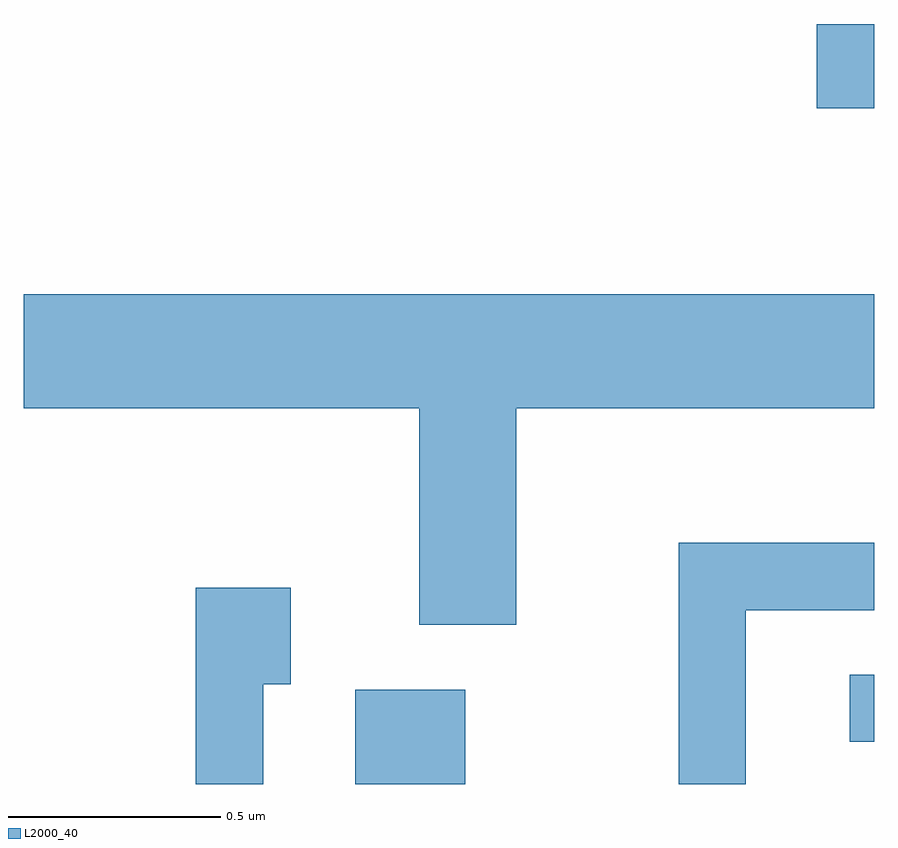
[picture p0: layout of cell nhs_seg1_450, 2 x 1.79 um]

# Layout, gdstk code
import gdstk
lib = gdstk.Library(unit=1e-6, precision=1e-09)
def R(c, l, rs):  # rectangles x0, y0, x1, y1
    for r in rs: c.add(gdstk.rectangle(r[:2], r[2:], *l))
def P(c, l, *ps):  # polygons
    for p in ps: c.add(gdstk.Polygon(p, *l))
L2000_40 = (2000, 40)

nhs_seg1_450 = lib.new_cell('nhs_seg1_450')
R(nhs_seg1_450, L2000_40, [(189.391,878.712,189.649,878.934), (190.553,878.811,190.611,878.969), (190.476,880.301,190.611,880.499)])
P(nhs_seg1_450, L2000_40, [(189.769,879.596),(190.611,879.596),(190.611,879.864),(188.611,879.864),(188.611,879.596),(189.541,879.596),(189.541,879.086),(189.769,879.086)],
  [(190.309,879.121),(190.611,879.121),(190.611,879.279),(190.151,879.279),(190.151,878.712),(190.309,878.712)],
  [(189.174,878.946),(189.239,878.946),(189.239,879.174),(189.016,879.174),(189.016,878.712),(189.174,878.712)])

lib.write_gds('nhs_seg1_450.gds')
